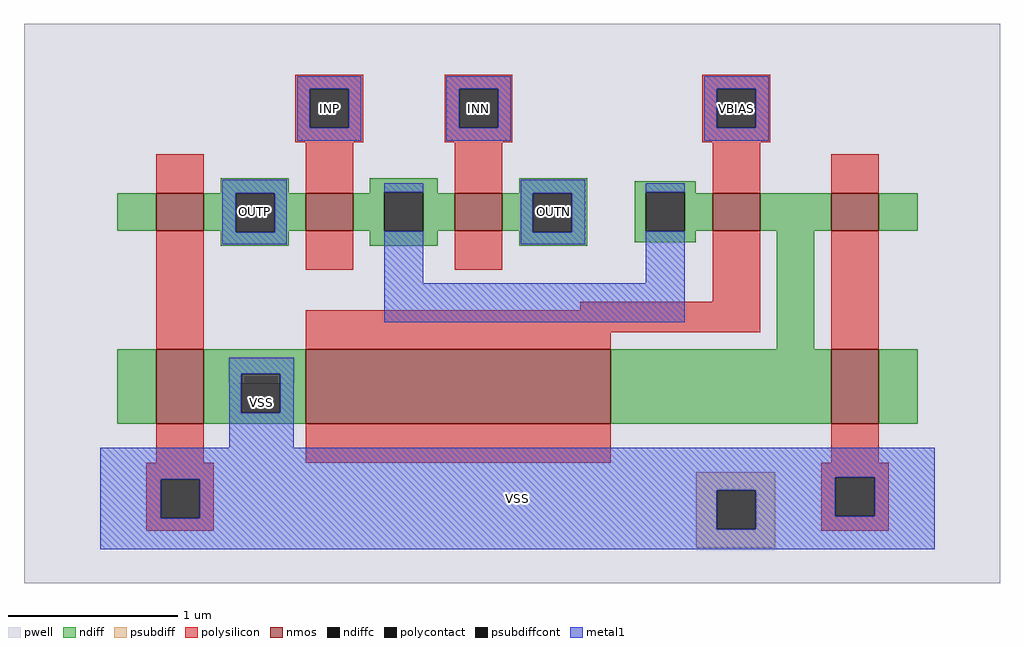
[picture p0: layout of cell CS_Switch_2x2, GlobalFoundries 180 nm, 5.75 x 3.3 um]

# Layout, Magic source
magic
tech gf180mcuD
magscale 1 10
<< pwell >>
rect -356 -170 795 224
rect -356 -200 -114 -170
rect -38 -200 795 -170
rect -356 -436 795 -200
<< nmos >>
rect -200 -20 -144 24
rect -24 -20 32 24
rect 152 -20 208 24
rect 456 -20 512 24
rect 596 -20 652 24
rect -200 -248 -144 -160
rect -24 -248 336 -160
rect 596 -248 652 -160
<< ndiff >>
rect -124 24 -44 42
rect 52 25 132 42
rect 52 24 69 25
rect -246 -20 -200 24
rect -144 -20 -106 24
rect -124 -22 -106 -20
rect -60 -20 -24 24
rect 32 -20 69 24
rect -60 -22 -44 -20
rect -124 -38 -44 -22
rect 52 -21 69 -20
rect 115 24 132 25
rect 228 24 308 42
rect 115 -20 152 24
rect 208 -20 244 24
rect 115 -21 132 -20
rect 52 -38 132 -21
rect 228 -22 244 -20
rect 290 -22 308 24
rect 228 -38 308 -22
rect 364 25 436 38
rect 364 -21 377 25
rect 423 24 436 25
rect 423 -20 456 24
rect 512 -20 596 24
rect 652 -20 698 24
rect 423 -21 436 -20
rect 364 -34 436 -21
rect 532 -160 576 -20
rect -246 -248 -200 -160
rect -144 -189 -24 -160
rect -144 -235 -100 -189
rect -54 -235 -24 -189
rect -144 -248 -24 -235
rect 336 -248 596 -160
rect 652 -248 698 -160
<< ndiffc >>
rect -106 -22 -60 24
rect 69 -21 115 25
rect 244 -22 290 24
rect 377 -21 423 25
rect -100 -235 -54 -189
<< psubdiff >>
rect 437 -326 530 -305
rect 437 -372 461 -326
rect 507 -372 530 -326
rect 437 -394 530 -372
<< psubdiffcont >>
rect 461 -372 507 -326
<< polysilicon >>
rect -36 147 44 164
rect -36 101 -19 147
rect 27 101 44 147
rect -36 84 44 101
rect 140 147 220 164
rect 140 101 157 147
rect 203 101 220 147
rect 140 84 220 101
rect 444 147 524 164
rect 444 101 461 147
rect 507 101 524 147
rect 444 84 524 101
rect -200 24 -144 70
rect -24 24 32 84
rect -200 -160 -144 -20
rect -24 -66 32 -20
rect 152 24 208 84
rect 152 -66 208 -20
rect 456 24 512 84
rect 596 24 652 70
rect 456 -104 512 -20
rect 300 -114 512 -104
rect -24 -140 512 -114
rect -24 -160 336 -140
rect 596 -160 652 -20
rect -200 -294 -144 -248
rect -24 -294 336 -248
rect 596 -294 652 -248
rect -212 -313 -132 -294
rect -212 -359 -195 -313
rect -149 -359 -132 -313
rect -212 -374 -132 -359
rect 584 -311 664 -294
rect 584 -357 601 -311
rect 647 -357 664 -311
rect 584 -374 664 -357
<< polycontact >>
rect -19 101 27 147
rect 157 101 203 147
rect 461 101 507 147
rect -195 -359 -149 -313
rect 601 -357 647 -311
<< metal1 >>
rect -34 147 42 162
rect -34 101 -19 147
rect 27 101 42 147
rect -34 86 42 101
rect 142 147 218 162
rect 142 101 157 147
rect 203 101 218 147
rect 142 86 218 101
rect 446 147 522 162
rect 446 101 461 147
rect 507 101 522 147
rect 446 86 522 101
rect -122 24 -46 40
rect -122 -22 -106 24
rect -60 -22 -46 24
rect -122 -36 -46 -22
rect 69 25 115 36
rect 69 -82 115 -21
rect 230 24 306 40
rect 230 -22 244 24
rect 290 -22 306 24
rect 230 -36 306 -22
rect 377 25 423 36
rect 377 -82 423 -21
rect 69 -128 423 -82
rect -114 -189 -38 -170
rect -114 -235 -100 -189
rect -54 -235 -38 -189
rect -114 -276 -38 -235
rect -266 -311 718 -276
rect -266 -313 601 -311
rect -266 -359 -195 -313
rect -149 -326 601 -313
rect -149 -359 461 -326
rect -266 -372 461 -359
rect 507 -357 601 -326
rect 647 -357 718 -311
rect 507 -372 718 -357
rect -266 -396 718 -372
<< labels >>
flabel metal1 -34 86 42 162 1 FreeSans 400 0 0 0 INP
port 1 nsew signal input
flabel metal1 142 86 218 162 1 FreeSans 400 0 0 0 INN
port 2 nsew signal input
flabel metal1 -122 -36 -46 40 1 FreeSans 400 0 0 0 OUTP
port 3 nsew power bidirectional
flabel metal1 230 -36 306 40 1 FreeSans 400 0 0 0 OUTN
port 4 nsew power bidirectional
flabel metal1 446 86 522 162 1 FreeSans 400 0 0 0 VBIAS
port 5 nsew power bidirectional
flabel metal1 -266 -396 718 -276 1 FreeSans 400 0 0 0 VSS
port 6 n
rlabel metal1 -114 -276 -38 -170 1 VSS
port 6 n
<< end >>
